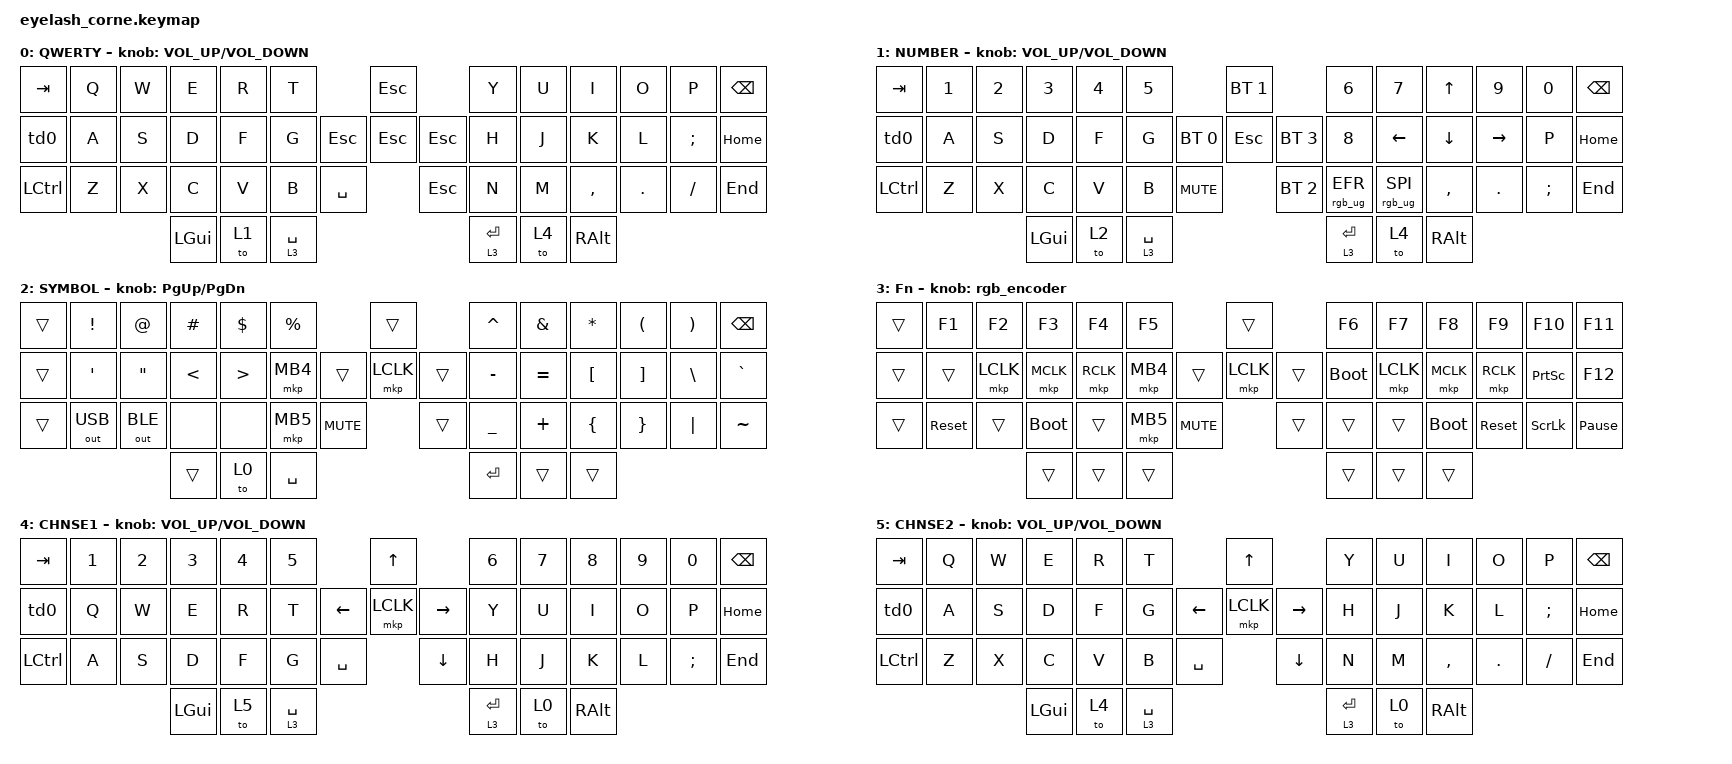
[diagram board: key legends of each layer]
#include <dt-bindings/zmk/mouse.h>
#include <input/processors.dtsi>
#include <behaviors.dtsi>
#include <dt-bindings/zmk/bt.h>
#include <dt-bindings/zmk/keys.h>
#include <dt-bindings/zmk/outputs.h>
#include <dt-bindings/zmk/pointing.h>
#include <dt-bindings/zmk/pointing.h>
#include <dt-bindings/zmk/rgb.h>

/*

   &mmv_input_listener {
       input-processors = <&zip_xy_scaler 2 1>;
   };

   &msc_input_listener {
       input-processors = <&zip_xy_scaler 2 1>;
   };

 */

#define ZMK_MOUSE_DEFAULT_MOVE_VAL 1200  // 600
#define ZMK_MOUSE_DEFAULT_SCRL_VAL 20    // 10

/ {
    behaviors {
        td0: td0 {
            compatible = "zmk,behavior-tap-dance";
            display-name = "Shift/Caps Lock Tap Dance";
            #binding-cells = <0>;
            bindings = <&kp LEFT_SHIFT>, <&kp CAPS>;
        };
    };

    rgb_encoder: rgb_encoder {
        compatible = "zmk,behavior-sensor-rotate";
        #sensor-binding-cells = <0>;
        bindings = <&rgb_ug RGB_BRI>, <&rgb_ug RGB_BRD>;
    };

    scroll_encoder: scroll_encoder {
        compatible = "zmk,behavior-sensor-rotate";
        #sensor-binding-cells = <0>;
        bindings = <&msc SCRL_DOWN>, <&msc SCRL_UP>;

        tap-ms = <30>;
    };

    combos {
        compatible = "zmk,combos";

        copy {
            bindings = <&kp LC(C)>;
            key-positions = <31>;
            layers = <1>;
        };

        paste {
            bindings = <&kp LC(V)>;
            key-positions = <32>;
            layers = <1>;
        };
    };

    keymap {
        compatible = "zmk,keymap";

        default_layer {
            display-name = "QWERTY";
            bindings = <
&kp TAB    &kp Q  &kp W  &kp E     &kp R  &kp T                              &kp ESC           &kp Y        &kp U  &kp I      &kp O    &kp P     &kp BSPC
&td0       &kp A  &kp S  &kp D     &kp F  &kp G                     &kp ESC  &kp ESC  &kp ESC  &kp H        &kp J  &kp K      &kp L    &kp SEMI  &kp HOME
&kp LCTRL  &kp Z  &kp X  &kp C     &kp V  &kp B        &kp SPACE             &kp ESC           &kp N        &kp M  &kp COMMA  &kp DOT  &kp FSLH  &kp END
                         &kp LGUI  &to 1  &lt 3 SPACE                                          &lt 3 ENTER  &to 4  &kp RALT
            >;

            sensor-bindings = <&inc_dec_kp C_VOLUME_UP C_VOLUME_DOWN>;
        };

        lower_layer {
            display-name = "NUMBER";
            bindings = <
&kp TAB    &kp N1  &kp N2  &kp N3    &kp N4  &kp N5                                   &bt BT_SEL 1                &kp N6           &kp N7           &kp UP     &kp N9      &kp N0    &kp BSPC
&td0       &kp A   &kp S   &kp D     &kp F   &kp G                      &bt BT_SEL 0  &kp ESC       &bt BT_SEL 3  &kp N8           &kp LEFT         &kp DOWN   &kp RIGHT   &kp P     &kp HOME
&kp LCTRL  &kp Z   &kp X   &kp C     &kp V   &kp B        &kp C_MUTE                  &bt BT_SEL 2                &rgb_ug RGB_EFR  &rgb_ug RGB_SPI  &kp COMMA  &kp PERIOD  &kp SEMI  &kp END
                           &kp LGUI  &to 2   &lt 3 SPACE                                                          &lt 3 ENTER      &to 4            &kp RALT
            >;

            sensor-bindings = <&inc_dec_kp C_VOLUME_UP C_VOLUME_DOWN>;
        };

        raise_layer {
            display-name = "SYMBOL";
            bindings = <
&trans  &kp EXCL          &kp AT             &kp HASH       &kp DLLR          &kp PRCNT                        &trans             &kp CARET  &kp AMPS   &kp ASTRK  &kp LPAR  &kp RPAR  &kp BSPC
&trans  &kp SINGLE_QUOTE  &kp DOUBLE_QUOTES  &kp LESS_THAN  &kp GREATER_THAN  &mkp MB4                 &trans  &mkp LCLK  &trans  &kp MINUS  &kp EQUAL  &kp LBKT   &kp RBKT  &kp BSLH  &kp GRAVE
&trans  &out OUT_USB      &out OUT_BLE       &none          &none             &mkp MB5   &kp C_MUTE            &trans             &kp UNDER  &kp PLUS   &kp LBRC   &kp RBRC  &kp PIPE  &kp TILDE
                                             &trans         &to 0             &kp SPACE                                           &kp RET    &trans     &trans
            >;

            sensor-bindings = <&inc_dec_kp PG_UP PG_DN>;
        };

        layer_3 {
            display-name = "Fn";
            bindings = <
&trans  &kp F1      &kp F2     &kp F3       &kp F4     &kp F5                          &trans             &kp F6       &kp F7     &kp F8       &kp F9      &kp F10          &kp F11
&trans  &trans      &mkp LCLK  &mkp MCLK    &mkp RCLK  &mkp MB4                &trans  &mkp LCLK  &trans  &bootloader  &mkp LCLK  &mkp MCLK    &mkp RCLK   &kp PRINTSCREEN  &kp F12
&trans  &sys_reset  &trans     &bootloader  &trans     &mkp MB5  &kp C_MUTE            &trans             &trans       &trans     &bootloader  &sys_reset  &kp SCROLLLOCK   &kp PAUSE_BREAK
                               &trans       &trans     &trans                                             &trans       &trans     &trans
            >;

            sensor-bindings = <&rgb_encoder>;
        };

        layer_4 {
            display-name = "CHNSE1";
            bindings = <
&kp TAB    &kp N1  &kp N2  &kp N3    &kp N4  &kp N5                              &kp UP_ARROW             &kp N6       &kp N7  &kp N8    &kp N9  &kp N0    &kp BSPC
&td0       &kp Q   &kp W   &kp E     &kp R   &kp T                     &kp LEFT  &mkp LCLK     &kp RIGHT  &kp Y        &kp U   &kp I     &kp O   &kp P     &kp HOME
&kp LCTRL  &kp A   &kp S   &kp D     &kp F   &kp G        &kp SPACE              &kp DOWN                 &kp H        &kp J   &kp K     &kp L   &kp SEMI  &kp END
                           &kp LGUI  &to 5   &lt 3 SPACE                                                  &lt 3 ENTER  &to 0   &kp RALT
            >;

            sensor-bindings = <&inc_dec_kp C_VOLUME_UP C_VOLUME_DOWN>;
        };

        layer_5 {
            display-name = "CHNSE2";
            bindings = <
&kp TAB    &kp Q  &kp W  &kp E     &kp R  &kp T                               &kp UP                &kp Y        &kp U  &kp I      &kp O    &kp P     &kp BSPC
&td0       &kp A  &kp S  &kp D     &kp F  &kp G                     &kp LEFT  &mkp LCLK  &kp RIGHT  &kp H        &kp J  &kp K      &kp L    &kp SEMI  &kp HOME
&kp LCTRL  &kp Z  &kp X  &kp C     &kp V  &kp B        &kp SPACE              &kp DOWN              &kp N        &kp M  &kp COMMA  &kp DOT  &kp FSLH  &kp END
                         &kp LGUI  &to 4  &lt 3 SPACE                                               &lt 3 ENTER  &to 0  &kp RALT
            >;

            sensor-bindings = <&inc_dec_kp C_VOLUME_UP C_VOLUME_DOWN>;
        };
    };
};
